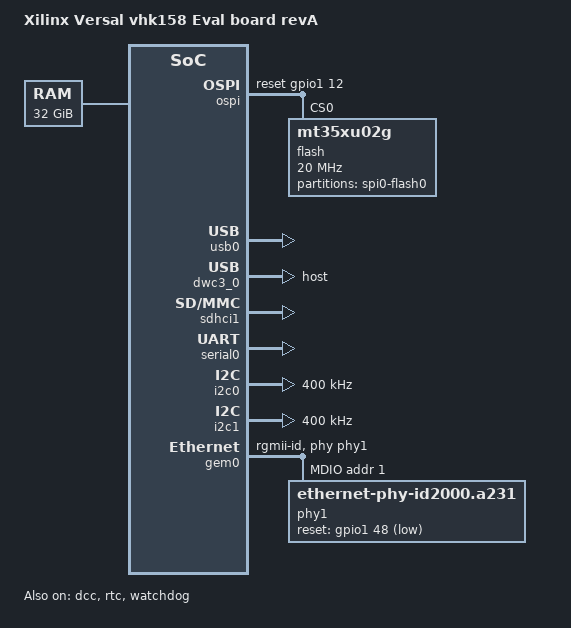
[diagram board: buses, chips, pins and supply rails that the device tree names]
// SPDX-License-Identifier: GPL-2.0
/*
 * dts file for Xilinx Versal VHK158 revA
 *
 * (C) Copyright 2022, Xilinx, Inc.
 *
 * Michal Simek <michal.simek@xilinx.com>
 */

#include <dt-bindings/net/ti-dp83867.h>
#include <dt-bindings/gpio/gpio.h>
#include "versal.dtsi"
#include "versal-clk.dtsi"

/ {
	compatible = "xlnx,versal-vhk158-revA", "xlnx,versal-vhk158",
		     "xlnx,versal";
	model = "Xilinx Versal vhk158 Eval board revA";

	memory: memory@0 {
		device_type = "memory";
		reg = <0 0 0 0x80000000>, <0x8 0x0 0x7 0x80000000>; /* 32GB */
	};

	chosen {
		bootargs = "console=ttyAMA0 earlycon=pl011,mmio32,0xFF000000,115200n8 clk_ignore_unused";
		stdout-path = "serial0:115200";
	};

	aliases {
		serial0 = &serial0;
		i2c0 = &i2c0;
		i2c1 = &i2c1;
		mmc0 = &sdhci1;
		spi0 = &ospi;
		usb0 = &usb0;
		rtc0 = &rtc;
	};
};

/* ZU4_TRIGGER - PMC MIO37 */
/* PCIE_PWRBRK - PMC MIO38 */
/* I2C SYSMON - PMC MIO39 - 41 */
/* VCCPSLP_EN - PMC MIO49 */
/* PCIE_WAKE - PMC MIO50 */
/* SOC_EN - LPD MIO13 */
/* PSFP_EN - LPD MIO15 */
/* AUX_1V2_EN - LPD MIO16 */
/* HBM_EN - LPD MIO17 */
/* PCIE_PERST - LPD MIO18/19 */
/* VCC_PL_EN - LPD MIO20 */
/* FAN - LPD MIO21/22 */
/* VADJ_FMC_EN - LPD MIO23 */

&ospi { /* PMC MIO0 - 12, U297 MT35XU02G */
	status = "okay";
	compatible = "xlnx,versal-ospi-1.0", "cadence,qspi", "cdns,qspi-nor";
	bus-num = <2>;
	num-cs = <1>;
	#address-cells = <1>;
	#size-cells = <0>;
	reset-gpios = <&gpio1 12 GPIO_ACTIVE_HIGH>;

	flash@0 {
		compatible = "mt35xu02g", "micron,m25p80", "jedec,spi-nor";
		reg = <0>;
		#address-cells = <1>;
		#size-cells = <1>;
		cdns,read-delay = <0>;
		cdns,tshsl-ns = <0>;
		cdns,tsd2d-ns = <0>;
		cdns,tchsh-ns = <1>;
		cdns,tslch-ns = <1>;
		spi-tx-bus-width = <8>;
		spi-rx-bus-width = <8>;
		spi-max-frequency = <20000000>;
		partition@0 {
			label = "spi0-flash0";
			reg = <0 0x8000000>;
		};
	};
};

&usb0 { /* PMC_MIO13_500 - PMC_MIO25 USB 2.0 */
	status = "okay";
	xlnx,usb-polarity = <0>;
	xlnx,usb-reset-mode = <0>;
};

&dwc3_0 { /* USB 2.0 host */
	status = "okay";
	dr_mode = "host";
	maximum-speed = "high-speed";
	snps,dis_u2_susphy_quirk;
	snps,dis_u3_susphy_quirk;
	snps,usb3_lpm_capable;
};

&sdhci1 { /* PMC_MIO26-36/51 */
	status = "okay";
	xlnx,mio-bank = <1>;
	no-1-8-v;
};

&serial0 { /* PMC_MIO42/43 */
	status = "okay";
};

&i2c0 { /* PMC_MIO46/47 */
	status = "okay";
	clock-frequency = <400000>;
};

&i2c1 { /* PMC_MIO44/45 */
	status = "okay";
	clock-frequency = <400000>;
};

&dcc {
	status = "okay";
};

&rtc {
	status = "okay";
};

&gpio0 {
	status = "okay";
};

&gpio1 {
	status = "okay";
};

&watchdog {
	status = "okay";
};

&gem0 { /* PMC_MIO_48, LPD_MIO0-11/24/25 */
	status = "okay";
	phy-handle = <&phy1>;
	phy-mode = "rgmii-id";
	mdio: mdio {
		#address-cells = <1>;
		#size-cells = <0>;
		phy1: ethernet-phy@1 { /* u198 */
			#phy-cells = <1>;
			compatible = "ethernet-phy-id2000.a231";
			reg = <1>;
			ti,rx-internal-delay = <DP83867_RGMIIDCTL_3_00_NS>;
			ti,tx-internal-delay = <DP83867_RGMIIDCTL_2_75_NS>;
			ti,fifo-depth = <1>;
			ti,dp83867-rxctrl-strap-quirk;
			reset-assert-us = <100>;
			reset-deassert-us = <280>;
			reset-gpios = <&gpio1 48 GPIO_ACTIVE_LOW>;
		};
	};
};

&lpd_dma_chan0 {
	status = "okay";
};

&lpd_dma_chan1 {
	status = "okay";
};

&lpd_dma_chan2 {
	status = "okay";
};

&lpd_dma_chan3 {
	status = "okay";
};

&lpd_dma_chan4 {
	status = "okay";
};

&lpd_dma_chan5 {
	status = "okay";
};

&lpd_dma_chan6 {
	status = "okay";
};

&lpd_dma_chan7 {
	status = "okay";
};
